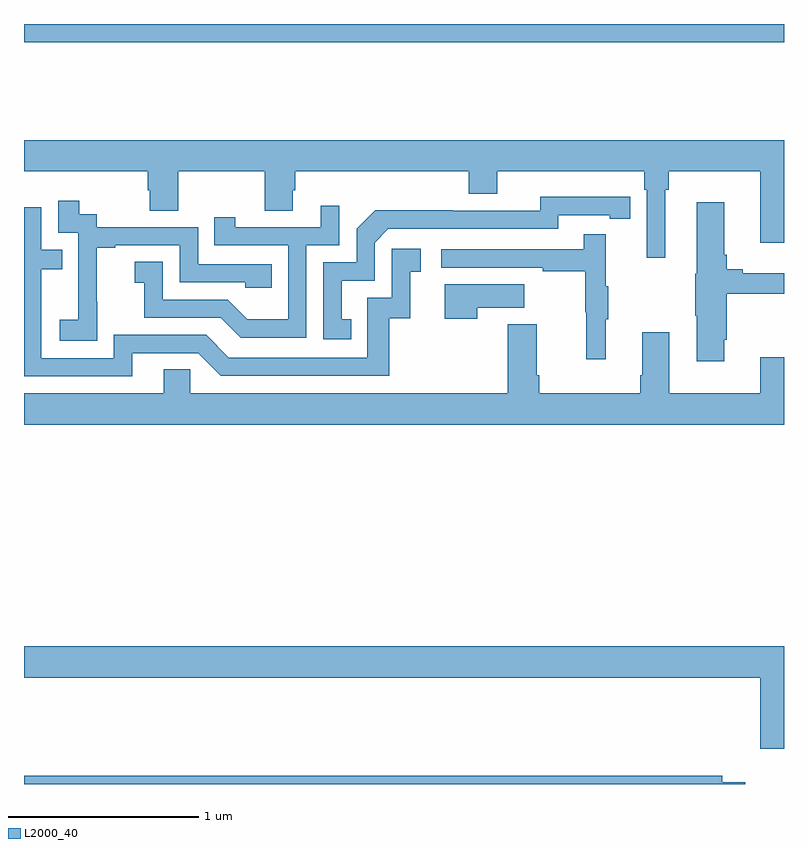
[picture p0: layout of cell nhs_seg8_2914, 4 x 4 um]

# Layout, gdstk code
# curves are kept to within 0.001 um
import gdstk
lib = gdstk.Library(unit=1e-6, precision=1e-09)
def R(c, l, rs):  # rectangles x0, y0, x1, y1
    for r in rs: c.add(gdstk.rectangle(r[:2], r[2:], *l))
def P(c, l, *ps):  # polygons
    for p in ps: c.add(gdstk.Polygon(p, *l))
L2000_40 = (2000, 40)

nhs_seg8_2914 = lib.new_cell('nhs_seg8_2914')
R(nhs_seg8_2914, L2000_40, [(293,1159.804,297,1159.9)])
P(nhs_seg8_2914, L2000_40, [(296.374,1159.028),(296.393,1159.028),(296.393,1159.124),(296.876,1159.124),(296.876,1158.75),(297,1158.75),(297,1159.288),(293,1159.288),(293,1159.124),(293.651,1159.124),(293.651,1159.026),(293.663,1159.026),(293.663,1158.916),(293.811,1158.916),(293.811,1159.124),(294.268,1159.124),(294.268,1158.916),(294.415,1158.916),(294.415,1159.026),(294.428,1159.026),(294.428,1159.124),(295.34,1159.124),(295.34,1159.007),(295.492,1159.007),(295.492,1159.124),(296.264,1159.124),(296.264,1159.028),(296.277,1159.028),(296.277,1158.669),(296.374,1158.669)],
  [(294.722,1158.345),(294.673,1158.345),(294.673,1158.549),(294.846,1158.549),(294.846,1158.75),(294.918,1158.822),(295.812,1158.822),(295.812,1158.894),(296.084,1158.894),(296.084,1158.874),(296.192,1158.874),(296.192,1158.99),(295.716,1158.991),(295.716,1158.918),(295.256,1158.918),(295.256,1158.92),(294.848,1158.92),(294.75,1158.822),(294.75,1158.645),(294.576,1158.645),(294.576,1158.24),(294.722,1158.24)],
  [(293.385,1158.439),(293.384,1158.439),(293.384,1158.723),(293.479,1158.723),(293.479,1158.735),(293.82,1158.735),(293.82,1158.54),(294.165,1158.54),(294.165,1158.513),(294.305,1158.513),(294.305,1158.636),(293.916,1158.636),(293.916,1158.831),(293.382,1158.831),(293.382,1158.9),(293.29,1158.9),(293.29,1158.97),(293.181,1158.97),(293.181,1158.801),(293.286,1158.801),(293.286,1158.572),(293.285,1158.572),(293.285,1158.343),(293.187,1158.343),(293.187,1158.233),(293.385,1158.233)],
  [(296.686,1158.238),(296.699,1158.238),(296.699,1158.48),(297,1158.48),(297,1158.589),(296.782,1158.589),(296.782,1158.608),(296.699,1158.608),(296.699,1158.685),(296.686,1158.685),(296.686,1158.961),(296.54,1158.961),(296.54,1158.585),(296.533,1158.585),(296.533,1158.364),(296.54,1158.364),(296.54,1158.126),(296.686,1158.126)],
  [(294.486,1158.735),(294.66,1158.735),(294.66,1158.943),(294.563,1158.943),(294.563,1158.831),(294.112,1158.831),(294.112,1158.883),(294.001,1158.883),(294.001,1158.735),(294.39,1158.735),(294.39,1158.346),(294.176,1158.346),(294.072,1158.45),(293.73,1158.45),(293.73,1158.649),(293.583,1158.649),(293.583,1158.539),(293.632,1158.539),(293.632,1158.354),(294.035,1158.354),(294.14,1158.249),(294.486,1158.249)],
  [(293.569,1158.168),(293.916,1158.168),(294.036,1158.048),(294.923,1158.048),(294.923,1158.351),(295.034,1158.351),(295.034,1158.597),(295.087,1158.597),(295.087,1158.718),(294.936,1158.718),(294.936,1158.459),(294.807,1158.459),(294.807,1158.144),(294.078,1158.144),(293.958,1158.264),(293.472,1158.264),(293.472,1158.141),(293.091,1158.141),(293.091,1158.61),(293.201,1158.61),(293.201,1158.711),(293.091,1158.711),(293.091,1158.936),(293,1158.936),(293,1158.045),(293.569,1158.045)],
  [(296.063,1158.347),(296.074,1158.347),(296.074,1158.521),(296.063,1158.521),(296.063,1158.793),(295.945,1158.793),(295.945,1158.714),(295.197,1158.714),(295.197,1158.618),(295.729,1158.618),(295.729,1158.598),(295.953,1158.598),(295.953,1158.384),(295.96,1158.384),(295.96,1158.135),(296.063,1158.135)],
  [(295.385,1158.407),(295.633,1158.407),(295.633,1158.529),(295.214,1158.529),(295.214,1158.348),(295.385,1158.348)],
  [(297,1158.145),(296.876,1158.145),(296.876,1157.956),(296.395,1157.956),(296.395,1158.277),(296.255,1158.277),(296.255,1158.052),(296.243,1158.052),(296.243,1157.956),(295.712,1157.956),(295.712,1158.052),(295.699,1158.052),(295.699,1158.319),(295.547,1158.319),(295.547,1157.956),(293.874,1157.956),(293.874,1158.083),(293.735,1158.083),(293.735,1157.956),(293,1157.956),(293,1157.792),(297,1157.792)],
  [(297,1156.624),(293,1156.624),(293,1156.46),(296.876,1156.46),(296.876,1156.086),(297,1156.086)],
  [(296.796,1155.908),(296.674,1155.908),(296.674,1155.944),(293,1155.944),(293,1155.9),(296.796,1155.9)])

lib.write_gds('nhs_seg8_2914.gds')
